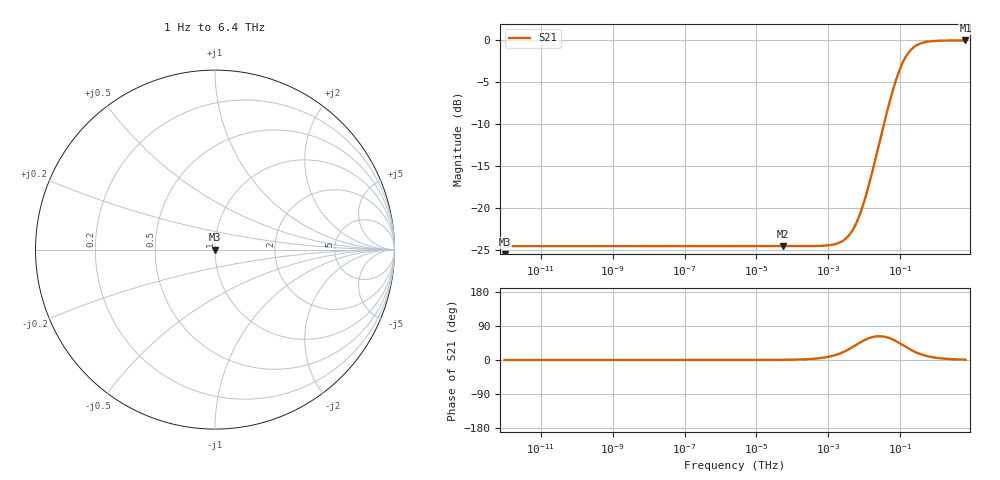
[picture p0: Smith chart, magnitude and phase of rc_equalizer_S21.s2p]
! RC peaking equalizer  S21(f) = H_eq(f)/H_base(f)
! source: documented reference table (PIPELINE.md ## ## / run_full_eye_analysis derivation)
# Hz S RI R 50
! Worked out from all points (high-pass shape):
!   801 points, 1 Hz to 6.4 THz, reference 50 ohm
!   highest |S21| = 0.00 dB at 6.4 THz (marker M1); lowest = -24.6 dB at 54.63 MHz (marker M2)
!   |S21| within 3 dB of the highest: 106.2 GHz to end of sweep
!   lowest |S11| = - dB at 1 Hz (marker M3), VSWR 1.00, Z = 50 + j0 ohm
!   |S11| at or under -10 dB: start of sweep to end of sweep
!   S12 and S22 are empty: the file has one direction only
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1  0 0  0.0592 8.62e-12  0 0  0 0
1000  0 0  0.0592 8.62e-09  0 0  0 0
18897.26  0 0  0.0592 1.63e-07  0 0  0 0
2581740  0 0  0.0592 2.23e-05  0 0  0 0
5.462653e7  0 0  0.0592 0.000478  0 0  0 0
3.527167e8  0 0  0.0592 0.00312  0 0  0 0
2.034024e9  0 0  0.0595 0.018  0 0  0 0
3.382761e9  0 0  0.0601 0.0299  0 0  0 0
5.168533e9  0 0  0.0614 0.0456  0 0  0 0
9.624424e9  0 0  0.0668 0.0844  0 0  0 0
2.123345e10  0 0  0.0952 0.1806  0 0  0 0
3.337257e10  0 0  0.1435 0.2687  0 0  0 0
4.818807e10  0 0  0.2194 0.3536  0 0  0 0
7.790792e10  0 0  0.3876 0.4485  0 0  0 0
1.15719e11  0 0  0.569 0.4687  0 0  0 0
1.492321e11  0 0  0.683 0.4447  0 0  0 0
1.97967e11  0 0  0.7892 0.3923  0 0  0 0
3.292365e11  0 0  0.911 0.2753  0 0  0 0
5.959947e11  0 0  0.9709 0.1628  0 0  0 0
1.109813e12  0 0  0.9914 0.0894  0 0  0 0
2.38025e12  0 0  0.9981 0.042  0 0  0 0
6.4e12  0 0  0.9997 0.0156  0 0  0 0
